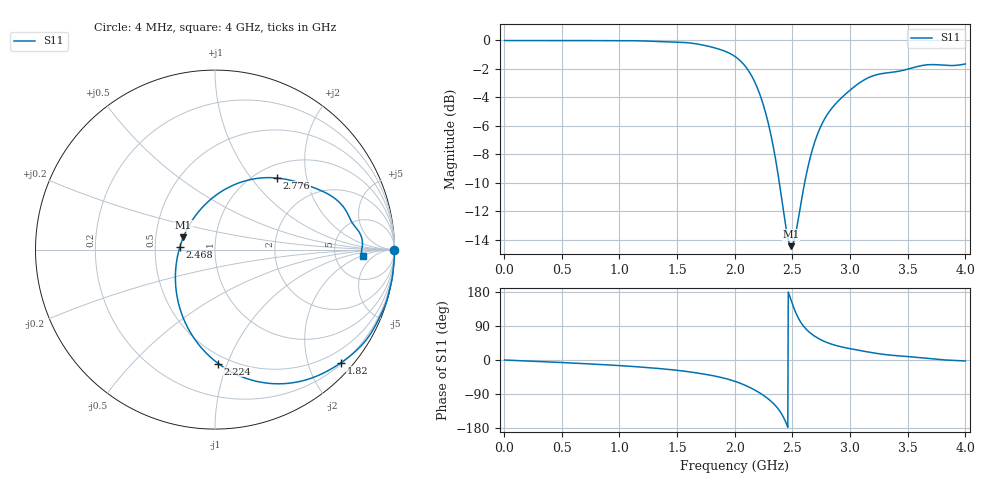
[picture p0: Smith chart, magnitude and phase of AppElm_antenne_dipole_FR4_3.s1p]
! TOUCHSTONE file generated by CST MICROWAVE STUDIO
! Date and time: Thu May 12 15:28:09 2022
! Project name: AppElm_antenne_dipole_FR4.cst
! Parameters = {L=38.8; e=0.035; f=2.45e+09; h=1.6; i=0.8; l1=3.4; lambda=122.449; ls=30; wl=1.7; ws=80}
! Header version: 2018
! Port assignment regex: !\s*Touchstone port\s*([0-9]+)\s*=\s*(CST MWS port|CST DS port)\s*([0-9]+|Zmin|Zmax)\s*\(\"(.*)\"\)(\s*mode\s*([0-9]+))?.*
! Touchstone port assignment:
! Touchstone port 1 = CST MWS port 1 ("")
# GHz S MA R 50
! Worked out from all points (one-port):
!   1000 points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, 4 MHz to 4 GHz, reference 50 ohm
!   lowest |S11| = -14.5 dB at 2.488 GHz (marker M1), VSWR 1.47, Z = 34.7 + j5.02 ohm
!   |S11| at or under -10 dB: 2.387 GHz to 2.606 GHz (219.4 MHz wide, 8.79 % of centre)
!   S11 on the Smith chart (normalised r, x): 4 MHz: open; 1.82 GHz: 0.23, -2.59; 2.224 GHz: 0.44, -0.93; 2.468 GHz: 0.67, +0.02; 2.776 GHz: 1.23, +1.36; 4 GHz: 10, -2
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0.004  0.9993 -0.1
0.504  0.9993 -6.7
1.004  0.9982 -14.8
1.504  0.987 -27.3
1.664  0.9732 -33.8
1.82  0.9431 -42.0
1.92  0.9147 -48.9
2.004  0.8771 -56.6
2.124  0.7774 -71.5
2.176  0.7107 -79.7
2.224  0.6354 -88.3
2.292  0.5091 -103.1
2.352  0.3862 -120.1
2.408  0.2757 -143.2
2.468  0.1964 175.9
2.488  0.1893 158.4
2.504  0.1923 144.5
2.568  0.2594 101.6
2.632  0.3555 77.5
2.7  0.4479 61.5
2.776  0.5273 49.1
2.872  0.5975 38.8
3.004  0.6712 29.6
3.216  0.7551 18.1
3.504  0.7937 9.0
3.656  0.8201 4.5
3.788  0.8198 0.8
4  0.8268 -2.6
